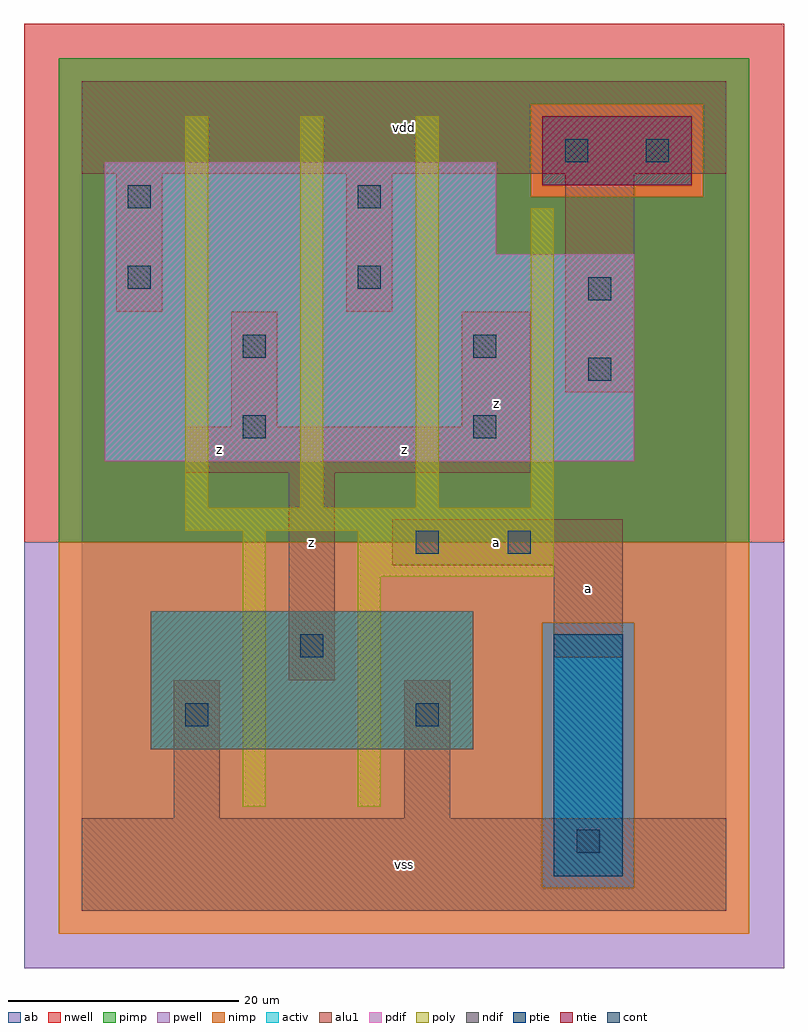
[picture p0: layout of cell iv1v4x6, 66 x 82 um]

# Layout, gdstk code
import gdstk
lib = gdstk.Library(unit=1e-6, precision=1e-09)
def R(c, l, rs):  # rectangles x0, y0, x1, y1
    for r in rs: c.add(gdstk.rectangle(r[:2], r[2:], *l))
def A(c, l, x, y, w, h, nx, ny, dx, dy):  # array of equal rectangles
    R(c, l, [(x+i*dx, y+j*dy, x+i*dx+w, y+j*dy+h) for i in range(nx) for j in range(ny)])
ndif = (3, 0)
pdif = (4, 0)
ntie = (5, 0)
ptie = (6, 0)
cont = (25, 0)
pwell = (41, 0)
nwell = (42, 0)
activ = (43, 0)
pimp = (44, 0)
nimp = (45, 0)
poly = (46, 0)
alu1 = (49, 0)
ab = (63, 0)

iv1v4x6 = lib.new_cell('iv1v4x6')
R(iv1v4x6, ndif, [(6,14,34,26)])
R(iv1v4x6, pdif, [(2,39,48,57), (2,57,36,65)])
R(iv1v4x6, ntie, [(40,63,53,69)])
R(iv1v4x6, ptie, [(41,3,47,24)])
R(iv1v4x6, cont, [(43,5,45,7), (9,16,11,18), (29,16,31,18), (19,22,21,24), (29,31,31,33), (37,31,39,33), (14,41,16,43), (34,41,36,43), (44,46,46,48), (14,48,16,50), (34,48,36,50), (44,53,46,55), (4,54,6,56), (24,54,26,56), (4,61,6,63), (24,61,26,63), (42,65,44,67), (49,65,51,67)])
R(iv1v4x6, pwell, [(-5,-5,61,32)])
R(iv1v4x6, nwell, [(-5,32,61,77)])
R(iv1v4x6, activ, [(41,3,47,24), (6,14,34,26), (2,39,48,57), (2,57,36,65), (40,63,53,69)])
R(iv1v4x6, pimp, [(40,2,48,25), (-2,32,58,62), (-2,62,39,70), (54,62,58,70), (-2,70,58,74)])
R(iv1v4x6, nimp, [(-2,-2,58,2), (-2,2,40,25), (48,2,58,25), (-2,25,58,32), (39,62,54,70)])
A(iv1v4x6, poly, 9, 35, 2, 34, 3, 1, 10, 0)
R(iv1v4x6, poly, [(14,9,16,33), (24,9,26,29), (24,29,41,33), (9,33,41,35), (39,35,41,61)])
R(iv1v4x6, alu1, [(0,0,56,8), (8,8,12,20), (28,8,32,20), (18,20,22,38), (41,22,47,30), (27,30,47,34), (9,38,39,42), (13,42,17,52), (33,42,39,52), (42,45,48,64), (3,52,7,64), (23,52,27,64), (0,64,56,72)])
R(iv1v4x6, ab, [(0,0,56,72)])
iv1v4x6.add(gdstk.Label('z', (20,32), layer=49, texttype=0))
iv1v4x6.add(gdstk.Label('z', (12,40), layer=49, texttype=0))
iv1v4x6.add(gdstk.Label('vss', (28,4), layer=49, texttype=0))
iv1v4x6.add(gdstk.Label('a', (36,32), layer=49, texttype=0))
iv1v4x6.add(gdstk.Label('z', (28,40), layer=49, texttype=0))
iv1v4x6.add(gdstk.Label('z', (36,44), layer=49, texttype=0))
iv1v4x6.add(gdstk.Label('vdd', (28,68), layer=49, texttype=0))
iv1v4x6.add(gdstk.Label('a', (44,28), layer=49, texttype=0))

lib.write_gds('iv1v4x6.gds')
